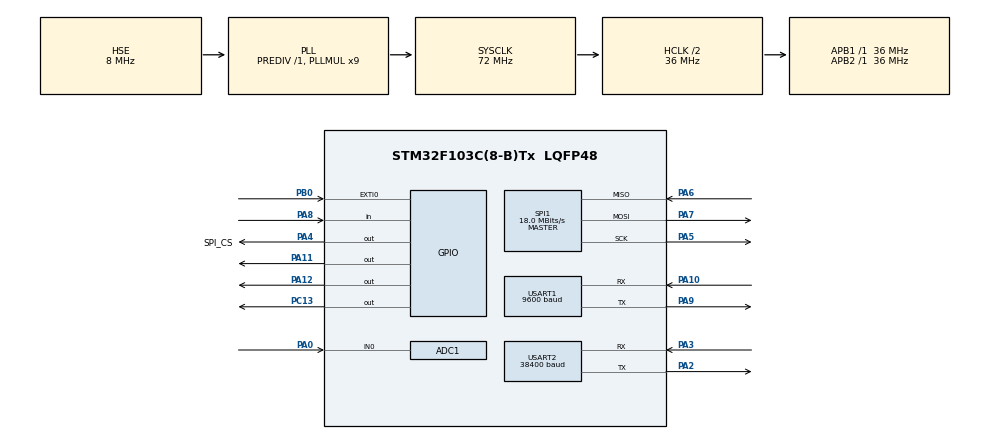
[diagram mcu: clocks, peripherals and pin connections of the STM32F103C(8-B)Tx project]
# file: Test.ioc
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ADC1.Channel-0\#ChannelRegularConversion=ADC_CHANNEL_0
ADC1.ContinuousConvMode=ENABLE
ADC1.NbrOfConversionFlag=1
ADC1.Rank-0\#ChannelRegularConversion=1
ADC1.SamplingTime-0\#ChannelRegularConversion=ADC_SAMPLETIME_1CYCLE_5
ADC1.master=1
Dma.ADC1.0.Direction=DMA_PERIPH_TO_MEMORY
Dma.ADC1.0.Instance=DMA1_Channel1
Dma.ADC1.0.MemDataAlignment=DMA_MDATAALIGN_HALFWORD
Dma.ADC1.0.MemInc=DMA_MINC_ENABLE
Dma.ADC1.0.Mode=DMA_NORMAL
Dma.ADC1.0.PeriphDataAlignment=DMA_PDATAALIGN_HALFWORD
Dma.ADC1.0.PeriphInc=DMA_PINC_DISABLE
Dma.ADC1.0.Priority=DMA_PRIORITY_LOW
Dma.Request0=ADC1
Dma.Request1=SPI1_RX
Dma.Request2=SPI1_TX
Dma.Request3=USART2_RX
Dma.SPI1_RX.1.Direction=DMA_PERIPH_TO_MEMORY
Dma.SPI1_RX.1.Instance=DMA1_Channel2
Dma.SPI1_RX.1.MemDataAlignment=DMA_MDATAALIGN_BYTE
Dma.SPI1_RX.1.MemInc=DMA_MINC_ENABLE
Dma.SPI1_RX.1.Mode=DMA_NORMAL
Dma.SPI1_RX.1.PeriphDataAlignment=DMA_PDATAALIGN_BYTE
Dma.SPI1_RX.1.PeriphInc=DMA_PINC_DISABLE
Dma.SPI1_RX.1.Priority=DMA_PRIORITY_LOW
Dma.SPI1_TX.2.Direction=DMA_MEMORY_TO_PERIPH
Dma.SPI1_TX.2.Instance=DMA1_Channel3
Dma.SPI1_TX.2.MemDataAlignment=DMA_MDATAALIGN_BYTE
Dma.SPI1_TX.2.MemInc=DMA_MINC_ENABLE
Dma.SPI1_TX.2.Mode=DMA_NORMAL
Dma.SPI1_TX.2.PeriphDataAlignment=DMA_PDATAALIGN_BYTE
Dma.SPI1_TX.2.PeriphInc=DMA_PINC_DISABLE
Dma.SPI1_TX.2.Priority=DMA_PRIORITY_LOW
Dma.USART2_RX.3.Direction=DMA_PERIPH_TO_MEMORY
Dma.USART2_RX.3.Instance=DMA1_Channel6
Dma.USART2_RX.3.MemDataAlignment=DMA_MDATAALIGN_BYTE
Dma.USART2_RX.3.MemInc=DMA_MINC_ENABLE
Dma.USART2_RX.3.Mode=DMA_CIRCULAR
Dma.USART2_RX.3.PeriphDataAlignment=DMA_PDATAALIGN_BYTE
Dma.USART2_RX.3.PeriphInc=DMA_PINC_DISABLE
Dma.USART2_RX.3.Priority=DMA_PRIORITY_LOW
FREERTOS.Tasks01=LoRaTask,24,256,StartDefaultTask,Default,NULL,Dynamic,NULL,NULL;IMUTask,8,128,StartTIMUTask,Default,NULL,Dynamic,NULL,NULL;SoilTask,8,128,StartTask03,Default,NULL,Dynamic,NULL,NULL;GNSSTask,8,128,StartTask04,Default,NULL,Dynamic,NULL,NULL
Mcu.Family=STM32F1
Mcu.Name=STM32F103C(8-B)Tx
Mcu.Package=LQFP48
NVIC.DMA1_Channel1_IRQn=true\:5\:0\:false\:false\:true\:true\:false\:true\:true
NVIC.DMA1_Channel2_IRQn=true\:5\:0\:false\:false\:true\:true\:false\:true\:true
NVIC.DMA1_Channel3_IRQn=true\:5\:0\:false\:false\:true\:true\:false\:true\:true
NVIC.DMA1_Channel6_IRQn=true\:5\:0\:false\:false\:true\:true\:false\:true\:true
NVIC.EXTI0_IRQn=true\:5\:0\:false\:false\:true\:true\:true\:true\:true
NVIC.PriorityGroup=NVIC_PRIORITYGROUP_4
NVIC.USART1_IRQn=true\:5\:0\:false\:false\:true\:true\:true\:true\:true
NVIC.USART2_IRQn=true\:5\:0\:false\:false\:true\:true\:true\:true\:true
PA0-WKUP.Signal=ADCx_IN0
PA10.Mode=Asynchronous
PA10.Signal=USART1_RX
PA11.Signal=GPIO_Output
PA12.Signal=GPIO_Output
PA13.Mode=Serial_Wire
PA13.Signal=SYS_JTMS-SWDIO
PA14.Mode=Serial_Wire
PA14.Signal=SYS_JTCK-SWCLK
PA2.Mode=Asynchronous
PA2.Signal=USART2_TX
PA3.Mode=Asynchronous
PA3.Signal=USART2_RX
PA4.GPIO_Label=SPI_CS
PA4.Signal=GPIO_Output
PA5.Mode=Full_Duplex_Master
PA5.Signal=SPI1_SCK
PA6.Mode=Full_Duplex_Master
PA6.Signal=SPI1_MISO
PA7.Mode=Full_Duplex_Master
PA7.Signal=SPI1_MOSI
PA8.Signal=GPIO_Input
PA9.Mode=Asynchronous
PA9.Signal=USART1_TX
PB0.Signal=GPXTI0
PC13-TAMPER-RTC.Signal=GPIO_Output
PD0-OSC_IN.Mode=HSE-External-Oscillator
PD0-OSC_IN.Signal=RCC_OSC_IN
PD1-OSC_OUT.Mode=HSE-External-Oscillator
PD1-OSC_OUT.Signal=RCC_OSC_OUT
ProjectManager.HeapSize=0x200
ProjectManager.StackSize=0x400
ProjectManager.TargetToolchain=STM32CubeIDE
RCC.ADCPresc=RCC_ADCPCLK2_DIV4
RCC.AHBCLKDivider=RCC_SYSCLK_DIV2
RCC.AHBFreq_Value=36000000
RCC.APB1Freq_Value=36000000
RCC.APB1TimFreq_Value=36000000
RCC.APB2Freq_Value=36000000
RCC.APB2TimFreq_Value=36000000
RCC.HCLKFreq_Value=36000000
RCC.PLLMUL=RCC_PLL_MUL9
RCC.PLLSourceVirtual=RCC_PLLSOURCE_HSE
RCC.SYSCLKFreq_VALUE=72000000
RCC.SYSCLKSource=RCC_SYSCLKSOURCE_PLLCLK
RCC.USBFreq_Value=72000000
SH.ADCx_IN0.0=ADC1_IN0,IN0
SPI1.CalculateBaudRate=18.0 MBits/s
SPI1.Direction=SPI_DIRECTION_2LINES
SPI1.Mode=SPI_MODE_MASTER
SPI1.VirtualType=VM_MASTER
USART1.BaudRate=9600
USART1.VirtualMode=VM_ASYNC
USART2.BaudRate=38400
USART2.VirtualMode=VM_ASYNC
VP_FREERTOS_VS_CMSIS_V2.Mode=CMSIS_V2
board=custom

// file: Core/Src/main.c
/* USER CODE BEGIN Header */
/**
  ******************************************************************************
  * @file           : main.c
  * @brief          : Main program body
  ******************************************************************************
  * @attention
  *
  * Copyright (c) 2026 STMicroelectronics.
  * All rights reserved.
  *
  * This software is licensed under terms that can be found in the LICENSE file
  * in the root directory of this software component.
  * If no LICENSE file comes with this software, it is provided AS-IS.
  *
  ******************************************************************************
  */
/* USER CODE END Header */
#include "main.h"
#include "cmsis_os.h"

/* USER CODE BEGIN Includes */
#include "queue.h"
#include "../../App/app_main.h"

/* USER CODE END Includes */

ADC_HandleTypeDef hadc1;
DMA_HandleTypeDef hdma_adc1;

SPI_HandleTypeDef hspi1;
DMA_HandleTypeDef hdma_spi1_rx;
DMA_HandleTypeDef hdma_spi1_tx;

UART_HandleTypeDef huart1;
UART_HandleTypeDef huart2;
DMA_HandleTypeDef hdma_usart2_rx;

/* Definitions for LoRaTask */
osThreadId_t LoRaTaskHandle;
const osThreadAttr_t LoRaTask_attributes = {
  .name = "LoRaTask",
  .stack_size = 256 * 4,
  .priority = (osPriority_t) osPriorityNormal,
};
/* Definitions for IMUTask */
osThreadId_t IMUTaskHandle;
const osThreadAttr_t IMUTask_attributes = {
  .name = "IMUTask",
  .stack_size = 128 * 4,
  .priority = (osPriority_t) osPriorityLow,
};
/* Definitions for SoilTask */
osThreadId_t SoilTaskHandle;
const osThreadAttr_t SoilTask_attributes = {
  .name = "SoilTask",
  .stack_size = 128 * 4,
  .priority = (osPriority_t) osPriorityLow,
};
/* Definitions for GNSSTask */
osThreadId_t GNSSTaskHandle;
const osThreadAttr_t GNSSTask_attributes = {
  .name = "GNSSTask",
  .stack_size = 128 * 4,
  .priority = (osPriority_t) osPriorityLow,
};

void SystemClock_Config(void);
static void MX_GPIO_Init(void);
static void MX_DMA_Init(void);
static void MX_USART1_UART_Init(void);
static void MX_USART2_UART_Init(void);
static void MX_ADC1_Init(void);
static void MX_SPI1_Init(void);
void StartDefaultTask(void *argument);
void StartTIMUTask(void *argument);
void StartTask03(void *argument);
void StartTask04(void *argument);

/* USER CODE BEGIN 0 */
uint8_t rx[2] = {0};
/* USER CODE END 0 */

int main(void)
{

  /* MCU Configuration--------------------------------------------------------*/

  /* Reset of all peripherals, Initializes the Flash interface and the Systick. */
  HAL_Init();

  /* Configure the system clock */
  SystemClock_Config();

  /* Initialize all configured peripherals */
  MX_GPIO_Init();
  MX_DMA_Init();
  MX_USART1_UART_Init();
  MX_USART2_UART_Init();
  MX_ADC1_Init();
  MX_SPI1_Init();
  /* USER CODE BEGIN 2 */
  HAL_Delay(2000);

  /* USER CODE END 2 */

  /* Init scheduler */
  osKernelInitialize();

  /* Create the thread(s) */
  /* creation of LoRaTask */
  LoRaTaskHandle = osThreadNew(StartDefaultTask, NULL, &LoRaTask_attributes);

  /* creation of IMUTask */
  IMUTaskHandle = osThreadNew(StartTIMUTask, NULL, &IMUTask_attributes);

  /* creation of SoilTask */
  SoilTaskHandle = osThreadNew(StartTask03, NULL, &SoilTask_attributes);

  /* creation of GNSSTask */
  GNSSTaskHandle = osThreadNew(StartTask04, NULL, &GNSSTask_attributes);

  /* USER CODE BEGIN RTOS_EVENTS */
  /* add events, ... */
  App_Init();
  /* USER CODE END RTOS_EVENTS */

  /* Start scheduler */
  osKernelStart();

  /* We should never get here as control is now taken by the scheduler */

  /* Infinite loop */
  /* USER CODE BEGIN WHILE */

  while (1)
  {
//	  App_Loop();
    /* USER CODE END WHILE */

  }
}

void SystemClock_Config(void)
{
  RCC_OscInitTypeDef RCC_OscInitStruct = {0};
  RCC_ClkInitTypeDef RCC_ClkInitStruct = {0};
  RCC_PeriphCLKInitTypeDef PeriphClkInit = {0};

  /** Initializes the RCC Oscillators according to the specified parameters
  * in the RCC_OscInitTypeDef structure.
  */
  RCC_OscInitStruct.OscillatorType = RCC_OSCILLATORTYPE_HSE;
  RCC_OscInitStruct.HSEState = RCC_HSE_ON;
  RCC_OscInitStruct.HSEPredivValue = RCC_HSE_PREDIV_DIV1;
  RCC_OscInitStruct.HSIState = RCC_HSI_ON;
  RCC_OscInitStruct.PLL.PLLState = RCC_PLL_ON;
  RCC_OscInitStruct.PLL.PLLSource = RCC_PLLSOURCE_HSE;
  RCC_OscInitStruct.PLL.PLLMUL = RCC_PLL_MUL9;
  if (HAL_RCC_OscConfig(&RCC_OscInitStruct) != HAL_OK)
  {
    Error_Handler();
  }

  /** Initializes the CPU, AHB and APB buses clocks
  */
  RCC_ClkInitStruct.ClockType = RCC_CLOCKTYPE_HCLK|RCC_CLOCKTYPE_SYSCLK
                              |RCC_CLOCKTYPE_PCLK1|RCC_CLOCKTYPE_PCLK2;
  RCC_ClkInitStruct.SYSCLKSource = RCC_SYSCLKSOURCE_PLLCLK;
  RCC_ClkInitStruct.AHBCLKDivider = RCC_SYSCLK_DIV2;
  RCC_ClkInitStruct.APB1CLKDivider = RCC_HCLK_DIV1;
  RCC_ClkInitStruct.APB2CLKDivider = RCC_HCLK_DIV1;

  if (HAL_RCC_ClockConfig(&RCC_ClkInitStruct, FLASH_LATENCY_2) != HAL_OK)
  {
    Error_Handler();
  }
  PeriphClkInit.PeriphClockSelection = RCC_PERIPHCLK_ADC;
  PeriphClkInit.AdcClockSelection = RCC_ADCPCLK2_DIV4;
  if (HAL_RCCEx_PeriphCLKConfig(&PeriphClkInit) != HAL_OK)
  {
    Error_Handler();
  }
}

static void MX_ADC1_Init(void)
{

  ADC_ChannelConfTypeDef sConfig = {0};

  /** Common config
  */
  hadc1.Instance = ADC1;
  hadc1.Init.ScanConvMode = ADC_SCAN_DISABLE;
  hadc1.Init.ContinuousConvMode = ENABLE;
  hadc1.Init.DiscontinuousConvMode = DISABLE;
  hadc1.Init.ExternalTrigConv = ADC_SOFTWARE_START;
  hadc1.Init.DataAlign = ADC_DATAALIGN_RIGHT;
  hadc1.Init.NbrOfConversion = 1;
  if (HAL_ADC_Init(&hadc1) != HAL_OK)
  {
    Error_Handler();
  }

  /** Configure Regular Channel
  */
  sConfig.Channel = ADC_CHANNEL_0;
  sConfig.Rank = ADC_REGULAR_RANK_1;
  sConfig.SamplingTime = ADC_SAMPLETIME_1CYCLE_5;
  if (HAL_ADC_ConfigChannel(&hadc1, &sConfig) != HAL_OK)
  {
    Error_Handler();
  }

}

static void MX_SPI1_Init(void)
{

  /* SPI1 parameter configuration*/
  hspi1.Instance = SPI1;
  hspi1.Init.Mode = SPI_MODE_MASTER;
  hspi1.Init.Direction = SPI_DIRECTION_2LINES;
  hspi1.Init.DataSize = SPI_DATASIZE_8BIT;
  hspi1.Init.CLKPolarity = SPI_POLARITY_LOW;
  hspi1.Init.CLKPhase = SPI_PHASE_1EDGE;
  hspi1.Init.NSS = SPI_NSS_SOFT;
  hspi1.Init.BaudRatePrescaler = SPI_BAUDRATEPRESCALER_2;
  hspi1.Init.FirstBit = SPI_FIRSTBIT_MSB;
  hspi1.Init.TIMode = SPI_TIMODE_DISABLE;
  hspi1.Init.CRCCalculation = SPI_CRCCALCULATION_DISABLE;
  hspi1.Init.CRCPolynomial = 10;
  if (HAL_SPI_Init(&hspi1) != HAL_OK)
  {
    Error_Handler();
  }

}

static void MX_USART1_UART_Init(void)
{

  huart1.Instance = USART1;
  huart1.Init.BaudRate = 9600;
  huart1.Init.WordLength = UART_WORDLENGTH_8B;
  huart1.Init.StopBits = UART_STOPBITS_1;
  huart1.Init.Parity = UART_PARITY_NONE;
  huart1.Init.Mode = UART_MODE_TX_RX;
  huart1.Init.HwFlowCtl = UART_HWCONTROL_NONE;
  huart1.Init.OverSampling = UART_OVERSAMPLING_16;
  if (HAL_UART_Init(&huart1) != HAL_OK)
  {
    Error_Handler();
  }

}

static void MX_USART2_UART_Init(void)
{

  huart2.Instance = USART2;
  huart2.Init.BaudRate = 38400;
  huart2.Init.WordLength = UART_WORDLENGTH_8B;
  huart2.Init.StopBits = UART_STOPBITS_1;
  huart2.Init.Parity = UART_PARITY_NONE;
  huart2.Init.Mode = UART_MODE_TX_RX;
  huart2.Init.HwFlowCtl = UART_HWCONTROL_NONE;
  huart2.Init.OverSampling = UART_OVERSAMPLING_16;
  if (HAL_UART_Init(&huart2) != HAL_OK)
  {
    Error_Handler();
  }

}

static void MX_DMA_Init(void)
{

  /* DMA controller clock enable */
  __HAL_RCC_DMA1_CLK_ENABLE();

  /* DMA interrupt init */
  /* DMA1_Channel1_IRQn interrupt configuration */
  HAL_NVIC_SetPriority(DMA1_Channel1_IRQn, 5, 0);
  HAL_NVIC_EnableIRQ(DMA1_Channel1_IRQn);
  /* DMA1_Channel2_IRQn interrupt configuration */
  HAL_NVIC_SetPriority(DMA1_Channel2_IRQn, 5, 0);
  HAL_NVIC_EnableIRQ(DMA1_Channel2_IRQn);
  /* DMA1_Channel3_IRQn interrupt configuration */
  HAL_NVIC_SetPriority(DMA1_Channel3_IRQn, 5, 0);
  HAL_NVIC_EnableIRQ(DMA1_Channel3_IRQn);
  /* DMA1_Channel6_IRQn interrupt configuration */
  HAL_NVIC_SetPriority(DMA1_Channel6_IRQn, 5, 0);
  HAL_NVIC_EnableIRQ(DMA1_Channel6_IRQn);

}

static void MX_GPIO_Init(void)
{
  GPIO_InitTypeDef GPIO_InitStruct = {0};

  /* GPIO Ports Clock Enable */
  __HAL_RCC_GPIOC_CLK_ENABLE();
  __HAL_RCC_GPIOD_CLK_ENABLE();
  __HAL_RCC_GPIOA_CLK_ENABLE();
  __HAL_RCC_GPIOB_CLK_ENABLE();

  /*Configure GPIO pin Output Level */
  HAL_GPIO_WritePin(GPIOC, GPIO_PIN_13, GPIO_PIN_RESET);

  /*Configure GPIO pin Output Level */
  HAL_GPIO_WritePin(GPIOA, SPI_CS_Pin|GPIO_PIN_11|GPIO_PIN_12, GPIO_PIN_RESET);

  /*Configure GPIO pin : PC13 */
  GPIO_InitStruct.Pin = GPIO_PIN_13;
  GPIO_InitStruct.Mode = GPIO_MODE_OUTPUT_PP;
  GPIO_InitStruct.Pull = GPIO_NOPULL;
  GPIO_InitStruct.Speed = GPIO_SPEED_FREQ_LOW;
  HAL_GPIO_Init(GPIOC, &GPIO_InitStruct);

  /*Configure GPIO pins : SPI_CS_Pin PA11 PA12 */
  GPIO_InitStruct.Pin = SPI_CS_Pin|GPIO_PIN_11|GPIO_PIN_12;
  GPIO_InitStruct.Mode = GPIO_MODE_OUTPUT_PP;
  GPIO_InitStruct.Pull = GPIO_NOPULL;
  GPIO_InitStruct.Speed = GPIO_SPEED_FREQ_LOW;
  HAL_GPIO_Init(GPIOA, &GPIO_InitStruct);

  /*Configure GPIO pin : PB0 */
  GPIO_InitStruct.Pin = GPIO_PIN_0;
  GPIO_InitStruct.Mode = GPIO_MODE_IT_RISING;
  GPIO_InitStruct.Pull = GPIO_NOPULL;
  HAL_GPIO_Init(GPIOB, &GPIO_InitStruct);

  /*Configure GPIO pin : PA8 */
  GPIO_InitStruct.Pin = GPIO_PIN_8;
  GPIO_InitStruct.Mode = GPIO_MODE_INPUT;
  GPIO_InitStruct.Pull = GPIO_NOPULL;
  HAL_GPIO_Init(GPIOA, &GPIO_InitStruct);

  /* EXTI interrupt init*/
  HAL_NVIC_SetPriority(EXTI0_IRQn, 5, 0);
  HAL_NVIC_EnableIRQ(EXTI0_IRQn);

}

void StartDefaultTask(void *argument)
{
  /* USER CODE BEGIN 5 */
  /* Infinite loop */
  for(;;)
  {
	      osDelay(5000);
		  LoRa_Process();

  }
  /* USER CODE END 5 */
}

void StartTIMUTask(void *argument)
{
  /* USER CODE BEGIN StartTIMUTask */
  /* Infinite loop */
  for(;;)
  {
	  osThreadFlagsWait(0x01, osFlagsWaitAny, osWaitForever);
	  IMU_Trigger_DMA_Read();
	  osThreadFlagsWait(0x02, osFlagsWaitAny, osWaitForever);
	  IMU_Process();
	  osDelay(1);
  }
  /* USER CODE END StartTIMUTask */
}

void StartTask03(void *argument)
{
  /* USER CODE BEGIN StartTask03 */
  /* Infinite loop */
  for(;;)
  {
	SOIL_Trigger_DMA();

	uint32_t flag = osThreadFlagsWait(0x01, osFlagsWaitAny, 20U);

	if (flag == 0x01)
	{
		SOIL_Process();
	}
	else
	{
		HAL_ADC_Stop_DMA(&hadc1);
	}
	osDelay(500);
  }
  /* USER CODE END StartTask03 */
}

void StartTask04(void *argument)
{
  /* USER CODE BEGIN StartTask04 */
	osDelay(2000);
	App_GPS_Init();
  /* Infinite loop */
  for(;;)
  {
	osThreadFlagsWait(0x01, osFlagsWaitAny, osWaitForever);
    GPS_Process();
  }
  /* USER CODE END StartTask04 */
}

void Error_Handler(void)
{
  __disable_irq();
  while (1)
  {
  }
}
